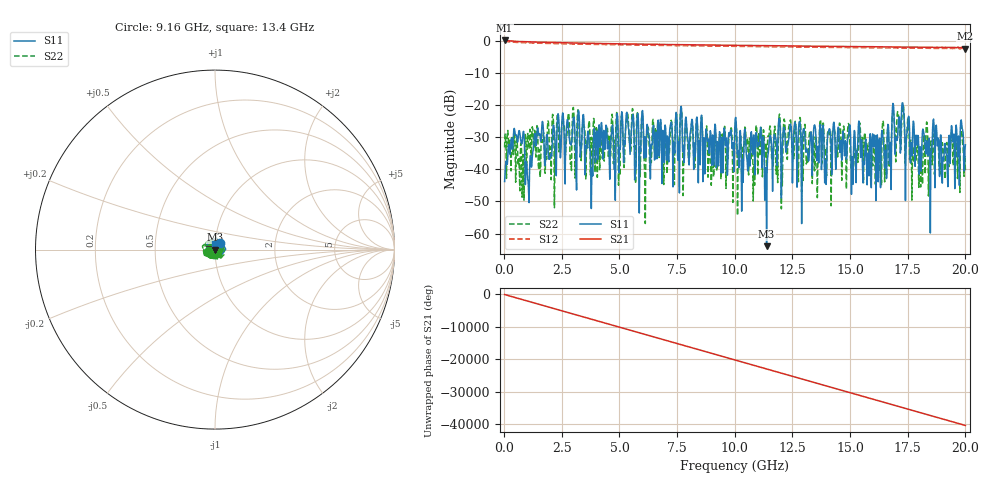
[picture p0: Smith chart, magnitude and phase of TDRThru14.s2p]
! File created by SignalIntegrity v1.1.13: Signal and Power Integrity Tools
! https://github.com/TeledyneLeCroy/SignalIntegrity
# MHz S MA R 50.0
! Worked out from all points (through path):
!   1000 points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, 20 MHz to 20 GHz, reference 50 ohm
!   highest |S21| = 0.13 dB at 20 MHz (marker M1); lowest = -2.4 dB at 20 GHz (marker M2)
!   lowest |S11| = -63.9 dB at 11.38 GHz (marker M3), VSWR 1.00, Z = 50.1 - j0.0219 ohm
!   |S11| at or under -10 dB: start of sweep to end of sweep
!   |S22| runs from -56.9 to -19.8 dB; largest |S21 - S12| = 0.039
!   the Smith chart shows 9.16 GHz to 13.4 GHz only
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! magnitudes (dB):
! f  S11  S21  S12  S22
! 20 MHz  -43.8  0.1  -0.2  -33.2
! 500 MHz  -29.5  -0.1  -0.5  -44.0
! 760 MHz  -32.1  -0.2  -0.5  -35.3
! 1 GHz  -41.2  -0.3  -0.6  -31.2
! 1.58 GHz  -31.2  -0.4  -0.7  -40.2
! 1.98 GHz  -36.9  -0.5  -0.8  -36.9
! 3.36 GHz  -32.4  -0.7  -1.0  -32.1
! 3.78 GHz  -52.2  -0.8  -1.1  -30.0
! 4.14 GHz  -28.2  -0.8  -1.1  -40.3
! 6.68 GHz  -24.7  -1.1  -1.4  -25.7
! 10.02 GHz  -24.4  -1.4  -1.7  -27.2
! 10.28 GHz  -35.9  -1.4  -1.7  -32.9
! 11.04 GHz  -31.9  -1.5  -1.8  -28.9
! 11.38 GHz  -63.9  -1.5  -1.8  -41.1
! 11.88 GHz  -28.1  -1.5  -1.8  -33.2
! 13.34 GHz  -32.5  -1.7  -2.0  -32.6
! 16.68 GHz  -29.2  -1.9  -2.2  -33.4
! 17.22 GHz  -24.2  -1.9  -2.2  -29.3
! 18.06 GHz  -34.1  -2.0  -2.3  -45.5
! 18.28 GHz  -35.3  -2.0  -2.3  -31.0
! 19.8 GHz  -24.9  -2.1  -2.4  -27.5
! 20 GHz  -32.4  -2.4  -2.7  -40.3
